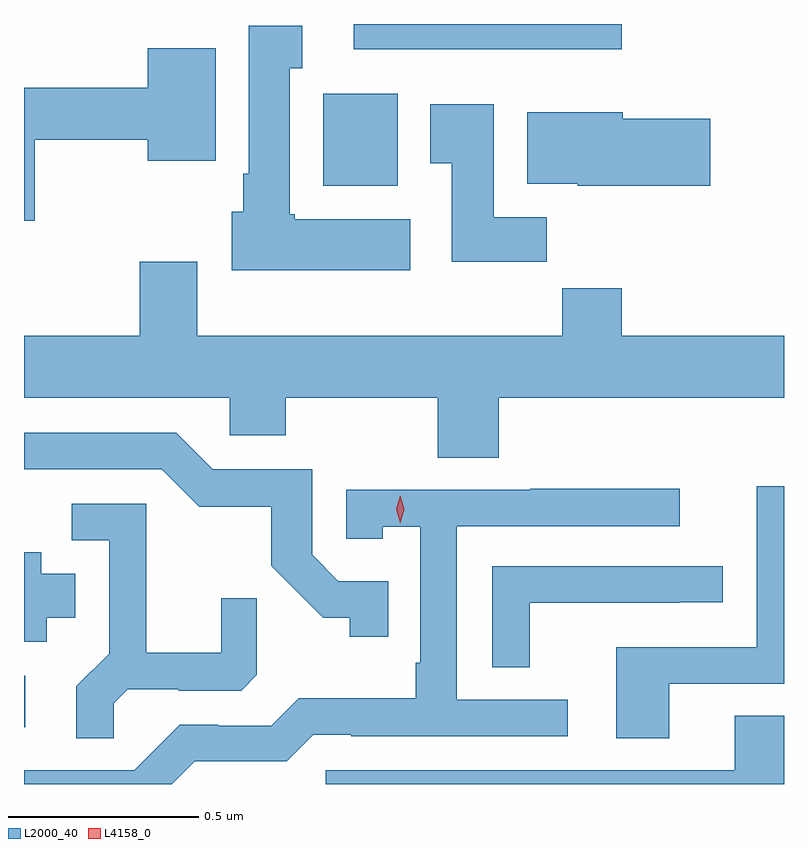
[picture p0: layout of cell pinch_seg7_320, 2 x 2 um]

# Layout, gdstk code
import gdstk
lib = gdstk.Library(unit=1e-6, precision=1e-09)
def R(c, l, rs):  # rectangles x0, y0, x1, y1
    for r in rs: c.add(gdstk.rectangle(r[:2], r[2:], *l))
def P(c, l, *ps):  # polygons
    for p in ps: c.add(gdstk.Polygon(p, *l))
L2000_40 = (2000, 40)
L4158_0 = (4158, 0)

pinch_seg7_320 = lib.new_cell('pinch_seg7_320')
R(pinch_seg7_320, L2000_40, [(549.745,1063.685,549.748,1063.821), (550.532,1065.11,550.729,1065.352), (550.613,1065.47,551.318,1065.536)])
P(pinch_seg7_320, L2000_40, [(550.762,1065.022),(550.458,1065.022),(550.458,1065.036),(550.444,1065.036),(550.444,1065.419),(550.477,1065.419),(550.477,1065.532),(550.337,1065.532),(550.337,1065.142),(550.322,1065.142),(550.322,1065.042),(550.292,1065.042),(550.292,1064.888),(550.762,1064.888)],
  [(549.773,1065.232),(550.07,1065.232),(550.07,1065.176),(550.249,1065.176),(550.249,1065.472),(550.07,1065.472),(550.07,1065.368),(549.745,1065.368),(549.745,1065.018),(549.773,1065.018)],
  [(551.12,1065.028),(550.981,1065.028),(550.981,1065.325),(550.814,1065.325),(550.814,1065.169),(550.871,1065.169),(550.871,1064.91),(551.12,1064.91)],
  [(551.551,1065.287),(551.32,1065.287),(551.32,1065.304),(551.069,1065.304),(551.069,1065.116),(551.202,1065.116),(551.202,1065.11),(551.551,1065.11)],
  [(550.994,1064.552),(551.745,1064.552),(551.745,1064.716),(551.318,1064.716),(551.318,1064.84),(551.161,1064.84),(551.161,1064.716),(550.201,1064.716),(550.201,1064.911),(550.049,1064.911),(550.049,1064.716),(549.745,1064.716),(549.745,1064.552),(550.287,1064.552),(550.287,1064.454),(550.434,1064.454),(550.434,1064.552),(550.834,1064.552),(550.834,1064.395),(550.994,1064.395)],
  [(550.703,1064.07),(550.572,1064.07),(550.503,1064.139),(550.503,1064.364),(550.242,1064.364),(550.146,1064.46),(549.745,1064.46),(549.745,1064.364),(550.107,1064.364),(550.206,1064.266),(550.395,1064.266),(550.395,1064.11),(550.532,1063.973),(550.602,1063.973),(550.602,1063.923),(550.703,1063.923)],
  [(551.443,1063.8),(551.745,1063.8),(551.745,1064.32),(551.673,1064.32),(551.673,1063.896),(551.303,1063.896),(551.303,1063.657),(551.443,1063.657)],
  [(550.194,1063.596),(550.437,1063.596),(550.506,1063.665),(550.606,1063.665),(550.606,1063.662),(551.176,1063.662),(551.176,1063.758),(550.884,1063.758),(550.884,1064.214),(551.47,1064.214),(551.47,1064.313),(551.077,1064.313),(551.077,1064.31),(550.593,1064.31),(550.593,1064.181),(550.689,1064.181),(550.689,1064.213),(550.788,1064.213),(550.788,1063.855),(550.776,1063.855),(550.776,1063.762),(550.468,1063.762),(550.395,1063.689),(550.256,1063.689),(550.256,1063.692),(550.155,1063.692),(550.035,1063.572),(549.745,1063.572),(549.745,1063.536),(550.134,1063.536)],
  [(549.981,1063.748),(550.018,1063.785),(550.152,1063.785),(550.152,1063.782),(550.317,1063.782),(550.358,1063.823),(550.358,1064.025),(550.264,1064.025),(550.264,1063.882),(550.067,1063.882),(550.067,1064.274),(549.87,1064.274),(549.87,1064.178),(549.969,1064.178),(549.969,1063.879),(549.883,1063.793),(549.883,1063.657),(549.981,1063.657)],
  [(549.805,1063.973),(549.88,1063.973),(549.88,1064.089),(549.79,1064.089),(549.79,1064.146),(549.745,1064.146),(549.745,1063.91),(549.805,1063.91)],
  [(551.076,1064.013),(551.471,1064.013),(551.471,1064.014),(551.584,1064.014),(551.584,1064.109),(550.977,1064.109),(550.977,1063.843),(551.076,1063.843)],
  [(551.745,1063.715),(551.615,1063.715),(551.615,1063.572),(550.539,1063.572),(550.539,1063.536),(551.745,1063.536)])
P(pinch_seg7_320, L4158_0, [(550.735,1064.222),(550.735,1064.223),(550.725,1064.259),(550.735,1064.295),(550.735,1064.295),(550.735,1064.295),(550.745,1064.259),(550.735,1064.223)])

lib.write_gds('pinch_seg7_320.gds')
